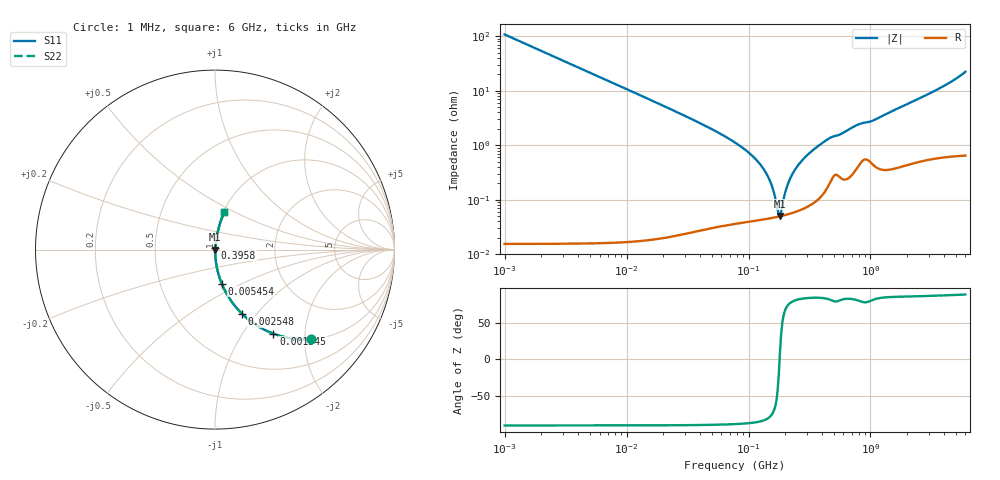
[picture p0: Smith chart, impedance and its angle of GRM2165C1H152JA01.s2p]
!Murata Part Number: GRM2165C1H152JA01
!These Parameters are Measured in Series Mode Connection
!Data Generated on Mar 30, 2021
!  o--ll--o
!Port1  Port2
!  o------o
!Operation Temp=25[degC], DC Bias Voltage=0[V]
!Freq. Start=1000[kHz] Stop=6[GHz] 401[Steps]
# Hz S RI R 50
!Freq.(Hz) S11(Real) S11(Imag) S21(Real) S21(Imag) S12(Real) S12(Imag) S22(Real) S22(Imag)
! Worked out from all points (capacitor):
!   401 points, 1 MHz to 6 GHz, reference 50 ohm
!   read as one part in series: C = 1.48 nF near 1.044 MHz
!   lowest |Z| = 50.3 mohm at 180.9 MHz (marker M1)
!   series resonance near 179.8 MHz, so ESL is about 530 pH
!   S11 on the Smith chart (normalised r, x): 1 MHz: 1.00, -2.15; 1.545 MHz: 1.00, -1.39; 2.548 MHz: 1.00, -0.84; 5.454 MHz: 1.00, -0.39; 395.8 MHz: 1.00, +0.02; 6 GHz: 1.01, +0.44
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1000000  0.535 -0.4987  0.465 0.4987  0.465 0.4987  0.535 -0.4987
1544926  0.3252 -0.4684  0.6748 0.4684  0.6748 0.4684  0.3252 -0.4684
2547717  0.1506 -0.3575  0.8494 0.3575  0.8494 0.3575  0.1506 -0.3575
4293785  0.0588 -0.2349  0.9412 0.2349  0.9412 0.2349  0.0588 -0.2349
5454306  0.0373 -0.1891  0.9627 0.1891  0.9627 0.1891  0.0373 -0.1891
1.843659e7  0.00348 -0.0573  0.9965 0.0573  0.9965 0.0573  0.00348 -0.0573
7.745967e7  0.000486 -0.0112  0.9995 0.0112  0.9995 0.0112  0.000486 -0.0112
1.073387e8  0.000445 -0.00638  0.9996 0.00638  0.9996 0.00638  0.000445 -0.00638
1.334167e8  0.000449 -0.00359  0.9996 0.00359  0.9996 0.00359  0.000449 -0.00359
1.520136e8  0.000463 -0.002  0.9995 0.002  0.9995 0.002  0.000463 -0.002
1.732027e8  0.000487 -0.000444  0.9995 0.000444  0.9995 0.000444  0.000487 -0.000444
1.809028e8  0.000497 7.18e-05  0.9995 -7.18e-05  0.9995 -7.18e-05  0.000497 7.18e-05
1.889453e8  0.000509 0.000588  0.9995 -0.000588  0.9995 -0.000588  0.000509 0.000588
2.061188e8  0.000537 0.00163  0.9995 -0.00163  0.9995 -0.00163  0.000537 0.00163
2.297971e8  0.000583 0.00295  0.9994 -0.00295  0.9994 -0.00295  0.000583 0.00295
2.675853e8  0.000674 0.00487  0.9993 -0.00487  0.9993 -0.00487  0.000674 0.00487
3.325952e8  0.000898 0.00786  0.9991 -0.00786  0.9991 -0.00786  0.000898 0.00786
3.958029e8  0.00127 0.0106  0.9987 -0.0106  0.9987 -0.0106  0.00127 0.0106
7.767579e8  0.00434 0.023  0.9957 -0.023  0.9957 -0.023  0.00434 0.023
1.428092e9  0.0051 0.0394  0.9949 -0.0394  0.9949 -0.0394  0.0051 0.0394
3.483508e9  0.0161 0.1011  0.9839 -0.1011  0.9839 -0.1011  0.0161 0.1011
6e9  0.0525 0.209  0.9475 -0.209  0.9475 -0.209  0.0525 0.209
